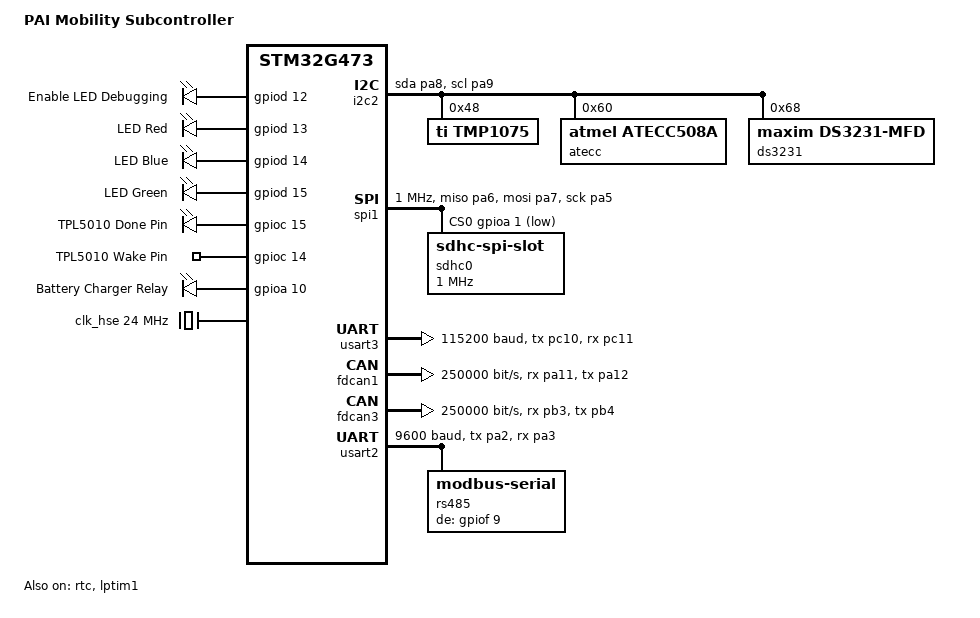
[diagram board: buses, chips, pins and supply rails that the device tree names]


#include <st/g4/stm32g473.dtsi>
#include <st/g4/stm32g473v(b-c-e)hx-pinctrl.dtsi>

/ {
	model = "PAI Mobility Subcontroller";
	compatible = "powerlabs,pai-mobility-subcontroller";

	chosen {
		zephyr,console = &usart3;
		zephyr,shell-uart = &usart3;
		zephyr,sram = &sram0;
		zephyr,flash = &flash0;
		// zephyr,settings-partition = &storage;
	};

	aliases {
		can-device-battery = &fdcan1;
		can-device-paimoc = &fdcan3;
		watchdog0 = &iwdg;
		led0 = &led_red;
	};

	leds {
		compatible = "gpio-leds";

		enable_rgb_led: enable-led-rgb-debugging {
			gpios = <&gpiod 12 GPIO_ACTIVE_HIGH>;
			label = "Enable LED Debugging";
		};

		led_red: led_red {
			gpios = <&gpiod 13 GPIO_ACTIVE_HIGH>;
			label = "LED Red";
		};

		led_blue: led_blue {
			gpios = <&gpiod 14 GPIO_ACTIVE_HIGH>;
			label = "LED Blue";
		};

		led_green: led_green {
			gpios = <&gpiod 15 GPIO_ACTIVE_HIGH>;
			label = "LED Green";
		};
	};

	tpl5010 {
		done_pin{
			compatible = "gpio-leds";
			status = "okay";
			tpl5010_done_pin: tpl5010_done_pin {
				gpios = <&gpioc 15 GPIO_ACTIVE_HIGH>;
				label = "TPL5010 Done Pin";
			};
		};

		wake_pin {
			compatible = "gpio-keys";
			status = "okay";
			tpl5010_wake_pin: tpl5010_wake_pin {
				gpios = <&gpioc 14 GPIO_ACTIVE_HIGH>;
				label = "TPL5010 Wake Pin";
			};
		};
	};

	relays {
		compatible = "gpio-leds";
		status = "okay";
		battery_charger_relay: battery_charger_relay {
			gpios = <&gpioa 10 GPIO_ACTIVE_HIGH>;
			label = "Battery Charger Relay";
		};
	};
};

&i2c2 {
    status = "okay";
    pinctrl-0 = <&i2c2_sda_pa8 &i2c2_scl_pa9>;
    pinctrl-names = "default";
	tmp1075: tmp1075@48 {
		compatible = "ti,tmp1075";
		friendly-name = "texas_temperature_tmp1075";
		reg = <0x48>;
		// alert-gpios = <&gpio0 22 (GPIO_PULL_UP | GPIO_ACTIVE_LOW)>;
		conversion-rate = <220000>;
		lower-threshold = <27>;
		upper-threshold = <28>;
		consecutive-fault-measurements = <4>;
	};

	atecc: atecc@60 {
		compatible = "atmel,atecc508a";
		reg = <0x60>;
		status = "okay";
	};

    ds3231: ds3231@68 {
        compatible = "maxim,ds3231-mfd";
        reg = <0x68>;
        status = "okay";

        ds3231_sensor: ds3231_sensor {
                compatible = "maxim,ds3231-sensor";
                status = "okay";
        };

        ds3231_rtc: ds3231_rtc {
                compatible = "maxim,ds3231-rtc";
                status = "okay";

                isw-gpios = <&gpioc 7 (GPIO_PULL_UP | GPIO_ACTIVE_LOW)>;
            //     freq-32khz-gpios = <&gpio0 33 (GPIO_PULL_UP | GPIO_ACTIVE_LOW)>;
        };
    };
};



&spi1 {
    status = "okay";
    pinctrl-0 = <&spi1_miso_pa6 &spi1_mosi_pa7 &spi1_sck_pa5>;
    pinctrl-names = "default";
    /* CS pin is managed as a GPIO */
    cs-gpios = <&gpioa 1 GPIO_ACTIVE_LOW>;
    clock-frequency = <1000000>;
    sdhc0: sdhc@0 {
        compatible = "zephyr,sdhc-spi-slot";
        reg = <0>; // Index of the CS pin in the cs-gpios list
        status = "okay";
        mmc {
            compatible = "zephyr,sdmmc-disk";
            status = "okay";
			disk-name = "SD";
        };
        spi-max-frequency = <1000000>; // Start at 24MHz
    };
};


&clk_lsi {
	status = "okay";
};

&clk_lse {
	status = "disabled";
};

&clk_hsi {
	status = "disabled";
};

&clk_hse {
	status = "okay";
	clock-frequency = <DT_FREQ_M(24)>;
};

/** Using PLLCLK as the core clock source of 144MHz,
 * Set the AHB, APB1, and APB2 prescalers to 1 to achieve the same frequency for all buses.
 */
&rcc {
	status = "okay";
	clocks = <&pll>;
	clock-frequency = <DT_FREQ_M(96)>;
	ahb-prescaler = <1>;
	apb1-prescaler = <1>;
	apb2-prescaler = <1>;
};

/** Using the 24MHz external crystal, we can use the following PLL settings to
 * PLLCLK to 144MHz
 * PLLQ to 48MHz
 * PLLR to 144MHz
*/
&pll {
	status = "okay";
	div-m = <6>;
	mul-n = <48>;
	div-p = <2>;
	div-q = <6>;
	div-r = <2>;
	clocks = <&clk_hse>;
};

&rtc {
	status = "okay";
	clocks = <&rcc STM32_CLOCK(APB1, 10)>,
		 <&rcc STM32_SRC_LSI RTC_SEL(2)>;
};

stm32_lp_tick_source: &lptim1 {
	status = "okay";
	clocks = <&rcc STM32_CLOCK(APB1, 31)>,
		 <&rcc STM32_SRC_LSI LPTIM1_SEL(2)>;
};

&iwdg {
	status = "disabled";
};


usart_console: &usart3 {
	status = "okay";
	pinctrl-0 = <&usart3_tx_pc10 &usart3_rx_pc11>;
	pinctrl-names = "default";
	current-speed = <115200>;
};

&fdcan1 {
	status = "okay";
	bitrate = <250000>;
	/** Using PLLQ as the clock source for FDCAN1,
	* We can set the clock divider to 12 to achieve a 4MHz clock for the time quanta.
	*/
	clocks = <&rcc STM32_CLOCK(APB1, 25)>, <&rcc STM32_SRC_PLL_Q FDCAN_SEL(1)>;
	pinctrl-0 = <&fdcan1_rx_pa11 &fdcan1_tx_pa12>;
	pinctrl-names = "default";
	//! Clock divider shouldn't be set for any other fdcan instance than fdcan1, as all other instances will use the same clock source as fdcan1, and the divider will be applied to all of them.
	// No divider is set, time quanta will be se to 48MHz as the clock source is PLLQ, which is 48MHz. This will result in a time quanta of 1/48MHz = 20.833ns, which is the minimum time quanta for FDCAN.
	clk-divider= <1>;
	sample-point = <875>;

};

&fdcan3 {
	status = "okay";
	bitrate = <250000>;
	// reg = < 0x40006c00 0x400 >,
	// 		      < 0x4000ac00 0x400 >;
	/** Using PLLQ as the clock source for FDCAN1,
	* We can set the clock divider to 12 to achieve a 4MHz clock for the time quanta.
	*/
	clocks = <&rcc STM32_CLOCK(APB1, 25)>, <&rcc STM32_SRC_PLL_Q FDCAN_SEL(1)>;
	pinctrl-0 = <&fdcan3_rx_pb3 &fdcan3_tx_pb4>;
	pinctrl-names = "default";
	//! Clock divider shouldn't be set for any other fdcan instance than fdcan1, as all other instances will use the same clock source as fdcan1, and the divider will be applied to all of them.
	/** clk-divider= <1>; */
	sample-point-data = <875>;

};

usart_rs485: &usart2 {
	status = "okay";
	pinctrl-0 = <&usart2_tx_pa2 &usart2_rx_pa3>;
	pinctrl-names = "default";
	current-speed = <9600>;
	rs485: rs485 {
		status = "okay";
		compatible = "zephyr,modbus-serial";
		de-gpios = <&gpiof 9 GPIO_ACTIVE_HIGH>;
	};

};
